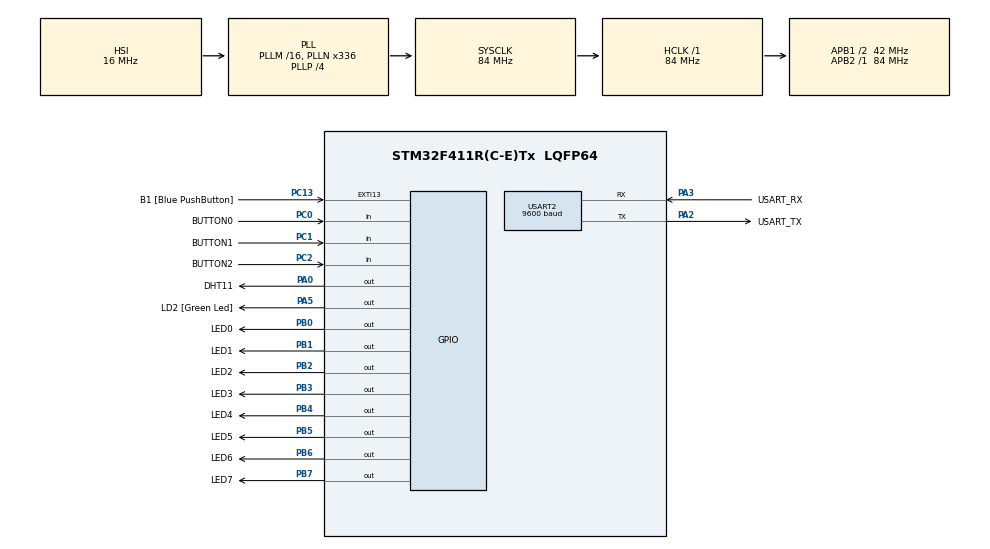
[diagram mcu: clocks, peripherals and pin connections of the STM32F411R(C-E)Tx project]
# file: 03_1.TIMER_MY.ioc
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FREERTOS.Tasks01=defaultTask,24,128,StartDefaultTask,Default,NULL,Dynamic,NULL,NULL;myTask01,8,128,StartTask01,Default,NULL,Dynamic,NULL,NULL;myTask02,8,128,StartTask02,Default,NULL,Dynamic,NULL,NULL
FREERTOS.configUSE_NEWLIB_REENTRANT=1
Mcu.Family=STM32F4
Mcu.Name=STM32F411R(C-E)Tx
Mcu.Package=LQFP64
NVIC.PriorityGroup=NVIC_PRIORITYGROUP_4
NVIC.TIM1_UP_TIM10_IRQn=true\:5\:0\:false\:false\:true\:false\:false\:true
NVIC.TIM2_IRQn=true\:5\:0\:false\:false\:true\:true\:true\:true
NVIC.TIM3_IRQn=true\:5\:0\:false\:false\:true\:true\:true\:true
NVIC.TimeBase=TIM1_UP_TIM10_IRQn
NVIC.TimeBaseIP=TIM10
NVIC.USART2_IRQn=true\:5\:0\:false\:false\:true\:true\:true\:true
PA0-WKUP.GPIO_Label=DHT11
PA0-WKUP.Signal=GPIO_Output
PA13.GPIO_Label=TMS
PA13.Mode=Serial_Wire
PA13.Signal=SYS_JTMS-SWDIO
PA14.GPIO_Label=TCK
PA14.Mode=Serial_Wire
PA14.Signal=SYS_JTCK-SWCLK
PA2.GPIO_Label=USART_TX
PA2.Mode=Asynchronous
PA2.Signal=USART2_TX
PA3.GPIO_Label=USART_RX
PA3.Mode=Asynchronous
PA3.Signal=USART2_RX
PA5.GPIO_Label=LD2 [Green Led]
PA5.Signal=GPIO_Output
PB0.GPIO_Label=LED0
PB0.Signal=GPIO_Output
PB1.GPIO_Label=LED1
PB1.Signal=GPIO_Output
PB2.GPIO_Label=LED2
PB2.Signal=GPIO_Output
PB3.GPIO_Label=LED3
PB3.Signal=GPIO_Output
PB4.GPIO_Label=LED4
PB4.Signal=GPIO_Output
PB5.GPIO_Label=LED5
PB5.Signal=GPIO_Output
PB6.GPIO_Label=LED6
PB6.Signal=GPIO_Output
PB7.GPIO_Label=LED7
PB7.Signal=GPIO_Output
PC0.GPIO_Label=BUTTON0
PC0.Signal=GPIO_Input
PC1.GPIO_Label=BUTTON1
PC1.Signal=GPIO_Input
PC13-ANTI_TAMP.GPIO_Label=B1 [Blue PushButton]
PC13-ANTI_TAMP.GPIO_ModeDefaultEXTI=GPIO_MODE_IT_FALLING
PC13-ANTI_TAMP.Signal=GPXTI13
PC14-OSC32_IN.Mode=LSE-External-Oscillator
PC14-OSC32_IN.Signal=RCC_OSC32_IN
PC15-OSC32_OUT.Mode=LSE-External-Oscillator
PC15-OSC32_OUT.Signal=RCC_OSC32_OUT
PC2.GPIO_Label=BUTTON2
PC2.Signal=GPIO_Input
PH0\ -\ OSC_IN.Mode=HSE-External-Clock-Source
PH0\ -\ OSC_IN.Signal=RCC_OSC_IN
PH1\ -\ OSC_OUT.Mode=HSE-External-Clock-Source
PH1\ -\ OSC_OUT.Signal=RCC_OSC_OUT
ProjectManager.HeapSize=0x200
ProjectManager.StackSize=0x400
ProjectManager.TargetToolchain=STM32CubeIDE
RCC.48MHZClocksFreq_Value=84000000
RCC.AHBFreq_Value=84000000
RCC.APB1CLKDivider=RCC_HCLK_DIV2
RCC.APB1Freq_Value=42000000
RCC.APB1TimFreq_Value=84000000
RCC.APB2Freq_Value=84000000
RCC.APB2TimFreq_Value=84000000
RCC.CortexFreq_Value=84000000
RCC.FLatency-AdvancedSettings=FLASH_LATENCY_2
RCC.HCLKFreq_Value=84000000
RCC.HSE_VALUE=8000000
RCC.HSI_VALUE=16000000
RCC.PLLN=336
RCC.PLLP=RCC_PLLP_DIV4
RCC.SYSCLKFreq_VALUE=84000000
RCC.SYSCLKSource=RCC_SYSCLKSOURCE_PLLCLK
RCC.VCOOutputFreq_Value=336000000
TIM11.Period=65535
TIM11.Prescaler=84-1
TIM2.Period=1000-1
TIM2.Prescaler=84-1
TIM3.Period=100-1
TIM3.Prescaler=8400-1
USART2.BaudRate=9600
USART2.VirtualMode=VM_ASYNC
VP_FREERTOS_VS_CMSIS_V2.Mode=CMSIS_V2
VP_SYS_VS_tim10.Mode=TIM10
VP_TIM11_VS_ClockSourceINT.Mode=Enable_Timer
VP_TIM2_VS_ClockSourceINT.Mode=Internal
VP_TIM3_VS_ClockSourceINT.Mode=Internal
board=NUCLEO-F411RE

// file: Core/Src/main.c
/* USER CODE BEGIN Header */
/**
  ******************************************************************************
  * @file           : main.c
  * @brief          : Main program body
  ******************************************************************************
  * @attention
  *
  * <h2><center>&copy; Copyright (c) 2024 STMicroelectronics.
  * All rights reserved.</center></h2>
  *
  * This software component is licensed by ST under BSD 3-Clause license,
  * the "License"; You may not use this file except in compliance with the
  * License. You may obtain a copy of the License at:
  *                        opensource.org/licenses/BSD-3-Clause
  *
  ******************************************************************************
  */
/* USER CODE END Header */
#include "main.h"
#include "cmsis_os.h"

TIM_HandleTypeDef htim2;
TIM_HandleTypeDef htim3;
TIM_HandleTypeDef htim11;

UART_HandleTypeDef huart2;

/* Definitions for defaultTask */
osThreadId_t defaultTaskHandle;
const osThreadAttr_t defaultTask_attributes = {
  .name = "defaultTask",
  .stack_size = 128 * 4,
  .priority = (osPriority_t) osPriorityNormal,
};
/* Definitions for myTask01 */
osThreadId_t myTask01Handle;
const osThreadAttr_t myTask01_attributes = {
  .name = "myTask01",
  .stack_size = 128 * 4,
  .priority = (osPriority_t) osPriorityLow,
};
/* Definitions for myTask02 */
osThreadId_t myTask02Handle;
const osThreadAttr_t myTask02_attributes = {
  .name = "myTask02",
  .stack_size = 128 * 4,
  .priority = (osPriority_t) osPriorityLow,
};
/* USER CODE BEGIN PV */
uint8_t rx_data;
int led_state=0;
volatile int TIM2_1ms_counter=0;
volatile int TIM3_10ms_counter=0;
volatile int TIM2_DHT11_counter = 0;
/* USER CODE END PV */

void SystemClock_Config(void);
static void MX_GPIO_Init(void);
static void MX_USART2_UART_Init(void);
static void MX_TIM11_Init(void);
static void MX_TIM2_Init(void);
static void MX_TIM3_Init(void);
void StartDefaultTask(void *argument);
void StartTask01(void *argument);
void StartTask02(void *argument);

/* USER CODE BEGIN PFP */
extern void led_all_on(void);
extern void led_all_off(void);
extern void led2_toggle(void);
extern void led_on_up();
extern void led_on_down();
extern void ledbar0_toggle(void);
extern void ledbar1_toggle(void);
extern void ledbar2_toggle(void);
extern void led_main(void);
extern void button0_check(void);
extern void delay_us(unsigned int us);
extern void DHT11_Init(void);
/* USER CODE END PFP */

/* USER CODE BEGIN 0 */
//-- call by SysTick_Handler of stm32f4xx_it.c
// SysTick_Handler : ARM core default timer
volatile int t1ms_counter=0;
void HAL_SYSTICK_Handler()
{
	t1ms_counter++;   // 1ms timer counter
}
//------------ printf start -----------------------
#ifdef __GNUC__    // Add for printf
/* With GCC, small printf (option LD Linker->Libraries->Small printf
   set to 'Yes') calls __io_putchar() */
#define PUTCHAR_PROTOTYPE int __io_putchar(int ch)
#else
#define PUTCHAR_PROTOTYPE int fputc(int ch, FILE *f)
#endif /* __GNUC__ */
/**
  * @brief  Retargets the C library printf function to the USART.
  * @param  None
  * @retval None
  */
PUTCHAR_PROTOTYPE   // Add for printf
{
  /* Place your implementation of fputc here */
  /* e.g. write a character to the USART2 and Loop until the end of transmission */
  HAL_UART_Transmit(&huart2, (uint8_t *)&ch, 1, 0xFFFF);

  return ch;
}
//-------------------- printf end --------------------
/* USER CODE END 0 */

int main(void)
{

  /* MCU Configuration--------------------------------------------------------*/

  /* Reset of all peripherals, Initializes the Flash interface and the Systick. */
  HAL_Init();

  /* Configure the system clock */
  SystemClock_Config();

  /* Initialize all configured peripherals */
  MX_GPIO_Init();
  MX_USART2_UART_Init();
  MX_TIM11_Init();
  MX_TIM2_Init();
  MX_TIM3_Init();
  /* USER CODE BEGIN 2 */
  HAL_UART_Receive_IT(&huart2, &rx_data, 1);   // assign RX INT
  HAL_TIM_Base_Start_IT(&htim2);  // ADD_SIKWON_0523
  HAL_TIM_Base_Start_IT(&htim3);  // ADD_MIKE_0524
  HAL_TIM_Base_Start_IT(&htim11);  // ADD_SIKWON_0523
  DHT11_Init();
  /* USER CODE END 2 */

  /* Init scheduler */
  osKernelInitialize();

  /* Create the thread(s) */
  /* creation of defaultTask */
  defaultTaskHandle = osThreadNew(StartDefaultTask, NULL, &defaultTask_attributes);

  /* creation of myTask01 */
  myTask01Handle = osThreadNew(StartTask01, NULL, &myTask01_attributes);

  /* creation of myTask02 */
  myTask02Handle = osThreadNew(StartTask02, NULL, &myTask02_attributes);

  /* Start scheduler */
  osKernelStart();

  /* We should never get here as control is now taken by the scheduler */
  /* Infinite loop */
  /* USER CODE BEGIN WHILE */
  while (1)
  {
//	  led_on_up();
//	  led_on_down();

#if 0
	  if (t1ms_counter >= 500)
	  {
		  t1ms_counter=0;
		  switch(led_state)
		  {
		  case 0:
			  led_all_on();
			  break;
		  case 1:
			  led_all_off();
			  break;
		  case 2:
			  led2_toggle();
			  break;
		  }
		  led_state++;
		  led_state %=3;
	  }
#endif
    /* USER CODE END WHILE */

    /* USER CODE BEGIN 3 */
// enter here !!!!!!
  }
  /* USER CODE END 3 */
}

void SystemClock_Config(void)
{
  RCC_OscInitTypeDef RCC_OscInitStruct = {0};
  RCC_ClkInitTypeDef RCC_ClkInitStruct = {0};

  /** Configure the main internal regulator output voltage
  */
  __HAL_RCC_PWR_CLK_ENABLE();
  __HAL_PWR_VOLTAGESCALING_CONFIG(PWR_REGULATOR_VOLTAGE_SCALE1);
  /** Initializes the RCC Oscillators according to the specified parameters
  * in the RCC_OscInitTypeDef structure.
  */
  RCC_OscInitStruct.OscillatorType = RCC_OSCILLATORTYPE_HSI;
  RCC_OscInitStruct.HSIState = RCC_HSI_ON;
  RCC_OscInitStruct.HSICalibrationValue = RCC_HSICALIBRATION_DEFAULT;
  RCC_OscInitStruct.PLL.PLLState = RCC_PLL_ON;
  RCC_OscInitStruct.PLL.PLLSource = RCC_PLLSOURCE_HSI;
  RCC_OscInitStruct.PLL.PLLM = 16;
  RCC_OscInitStruct.PLL.PLLN = 336;
  RCC_OscInitStruct.PLL.PLLP = RCC_PLLP_DIV4;
  RCC_OscInitStruct.PLL.PLLQ = 4;
  if (HAL_RCC_OscConfig(&RCC_OscInitStruct) != HAL_OK)
  {
    Error_Handler();
  }
  /** Initializes the CPU, AHB and APB buses clocks
  */
  RCC_ClkInitStruct.ClockType = RCC_CLOCKTYPE_HCLK|RCC_CLOCKTYPE_SYSCLK
                              |RCC_CLOCKTYPE_PCLK1|RCC_CLOCKTYPE_PCLK2;
  RCC_ClkInitStruct.SYSCLKSource = RCC_SYSCLKSOURCE_PLLCLK;
  RCC_ClkInitStruct.AHBCLKDivider = RCC_SYSCLK_DIV1;
  RCC_ClkInitStruct.APB1CLKDivider = RCC_HCLK_DIV2;
  RCC_ClkInitStruct.APB2CLKDivider = RCC_HCLK_DIV1;

  if (HAL_RCC_ClockConfig(&RCC_ClkInitStruct, FLASH_LATENCY_2) != HAL_OK)
  {
    Error_Handler();
  }
}

static void MX_TIM2_Init(void)
{

  TIM_ClockConfigTypeDef sClockSourceConfig = {0};
  TIM_MasterConfigTypeDef sMasterConfig = {0};

  htim2.Instance = TIM2;
  htim2.Init.Prescaler = 84-1;
  htim2.Init.CounterMode = TIM_COUNTERMODE_UP;
  htim2.Init.Period = 1000-1;
  htim2.Init.ClockDivision = TIM_CLOCKDIVISION_DIV1;
  htim2.Init.AutoReloadPreload = TIM_AUTORELOAD_PRELOAD_DISABLE;
  if (HAL_TIM_Base_Init(&htim2) != HAL_OK)
  {
    Error_Handler();
  }
  sClockSourceConfig.ClockSource = TIM_CLOCKSOURCE_INTERNAL;
  if (HAL_TIM_ConfigClockSource(&htim2, &sClockSourceConfig) != HAL_OK)
  {
    Error_Handler();
  }
  sMasterConfig.MasterOutputTrigger = TIM_TRGO_RESET;
  sMasterConfig.MasterSlaveMode = TIM_MASTERSLAVEMODE_DISABLE;
  if (HAL_TIMEx_MasterConfigSynchronization(&htim2, &sMasterConfig) != HAL_OK)
  {
    Error_Handler();
  }

}

static void MX_TIM3_Init(void)
{

  TIM_ClockConfigTypeDef sClockSourceConfig = {0};
  TIM_MasterConfigTypeDef sMasterConfig = {0};

  htim3.Instance = TIM3;
  htim3.Init.Prescaler = 8400-1;
  htim3.Init.CounterMode = TIM_COUNTERMODE_UP;
  htim3.Init.Period = 100-1;
  htim3.Init.ClockDivision = TIM_CLOCKDIVISION_DIV1;
  htim3.Init.AutoReloadPreload = TIM_AUTORELOAD_PRELOAD_DISABLE;
  if (HAL_TIM_Base_Init(&htim3) != HAL_OK)
  {
    Error_Handler();
  }
  sClockSourceConfig.ClockSource = TIM_CLOCKSOURCE_INTERNAL;
  if (HAL_TIM_ConfigClockSource(&htim3, &sClockSourceConfig) != HAL_OK)
  {
    Error_Handler();
  }
  sMasterConfig.MasterOutputTrigger = TIM_TRGO_RESET;
  sMasterConfig.MasterSlaveMode = TIM_MASTERSLAVEMODE_DISABLE;
  if (HAL_TIMEx_MasterConfigSynchronization(&htim3, &sMasterConfig) != HAL_OK)
  {
    Error_Handler();
  }

}

static void MX_TIM11_Init(void)
{

  htim11.Instance = TIM11;
  htim11.Init.Prescaler = 84-1;
  htim11.Init.CounterMode = TIM_COUNTERMODE_UP;
  htim11.Init.Period = 65535;
  htim11.Init.ClockDivision = TIM_CLOCKDIVISION_DIV1;
  htim11.Init.AutoReloadPreload = TIM_AUTORELOAD_PRELOAD_DISABLE;
  if (HAL_TIM_Base_Init(&htim11) != HAL_OK)
  {
    Error_Handler();
  }

}

static void MX_USART2_UART_Init(void)
{

  huart2.Instance = USART2;
  huart2.Init.BaudRate = 9600;
  huart2.Init.WordLength = UART_WORDLENGTH_8B;
  huart2.Init.StopBits = UART_STOPBITS_1;
  huart2.Init.Parity = UART_PARITY_NONE;
  huart2.Init.Mode = UART_MODE_TX_RX;
  huart2.Init.HwFlowCtl = UART_HWCONTROL_NONE;
  huart2.Init.OverSampling = UART_OVERSAMPLING_16;
  if (HAL_UART_Init(&huart2) != HAL_OK)
  {
    Error_Handler();
  }

}

static void MX_GPIO_Init(void)
{
  GPIO_InitTypeDef GPIO_InitStruct = {0};

  /* GPIO Ports Clock Enable */
  __HAL_RCC_GPIOC_CLK_ENABLE();
  __HAL_RCC_GPIOH_CLK_ENABLE();
  __HAL_RCC_GPIOA_CLK_ENABLE();
  __HAL_RCC_GPIOB_CLK_ENABLE();

  /*Configure GPIO pin Output Level */
  HAL_GPIO_WritePin(GPIOA, DHT11_Pin|LD2_Pin, GPIO_PIN_RESET);

  /*Configure GPIO pin Output Level */
  HAL_GPIO_WritePin(GPIOB, LED0_Pin|LED1_Pin|LED2_Pin|LED3_Pin
                          |LED4_Pin|LED5_Pin|LED6_Pin|LED7_Pin, GPIO_PIN_RESET);

  /*Configure GPIO pin : B1_Pin */
  GPIO_InitStruct.Pin = B1_Pin;
  GPIO_InitStruct.Mode = GPIO_MODE_IT_FALLING;
  GPIO_InitStruct.Pull = GPIO_NOPULL;
  HAL_GPIO_Init(B1_GPIO_Port, &GPIO_InitStruct);

  /*Configure GPIO pins : BUTTON0_Pin BUTTON1_Pin BUTTON2_Pin */
  GPIO_InitStruct.Pin = BUTTON0_Pin|BUTTON1_Pin|BUTTON2_Pin;
  GPIO_InitStruct.Mode = GPIO_MODE_INPUT;
  GPIO_InitStruct.Pull = GPIO_NOPULL;
  HAL_GPIO_Init(GPIOC, &GPIO_InitStruct);

  /*Configure GPIO pins : DHT11_Pin LD2_Pin */
  GPIO_InitStruct.Pin = DHT11_Pin|LD2_Pin;
  GPIO_InitStruct.Mode = GPIO_MODE_OUTPUT_PP;
  GPIO_InitStruct.Pull = GPIO_NOPULL;
  GPIO_InitStruct.Speed = GPIO_SPEED_FREQ_LOW;
  HAL_GPIO_Init(GPIOA, &GPIO_InitStruct);

  /*Configure GPIO pins : LED0_Pin LED1_Pin LED2_Pin LED3_Pin
                           LED4_Pin LED5_Pin LED6_Pin LED7_Pin */
  GPIO_InitStruct.Pin = LED0_Pin|LED1_Pin|LED2_Pin|LED3_Pin
                          |LED4_Pin|LED5_Pin|LED6_Pin|LED7_Pin;
  GPIO_InitStruct.Mode = GPIO_MODE_OUTPUT_PP;
  GPIO_InitStruct.Pull = GPIO_NOPULL;
  GPIO_InitStruct.Speed = GPIO_SPEED_FREQ_LOW;
  HAL_GPIO_Init(GPIOB, &GPIO_InitStruct);

}

void StartDefaultTask(void *argument)
{
  /* USER CODE BEGIN 5 */
  /* Infinite loop */
  for(;;)  // while(1)
  {
	  button_check();
    osDelay(1);
  }
  /* USER CODE END 5 */
}

void StartTask01(void *argument)
{
  /* USER CODE BEGIN StartTask01 */
  /* Infinite loop */
  for(;;)
  {
	if (TIM2_1ms_counter >= 50) // 50ms
	{
		TIM2_1ms_counter=0;
		led2_toggle();
	}
	// led2_toggle();
    osDelay(1);
  }
  /* USER CODE END StartTask01 */
}

void StartTask02(void *argument)
{
  /* USER CODE BEGIN StartTask02 */
  /* Infinite loop */
  for(;;)
  {
	  led_main();
	  osDelay(1);
  }
  /* USER CODE END StartTask02 */
}

void HAL_TIM_PeriodElapsedCallback(TIM_HandleTypeDef *htim)
{
  /* USER CODE BEGIN Callback 0 */
//////
  /* USER CODE END Callback 0 */
  if (htim->Instance == TIM10) {
    HAL_IncTick();
  }
  /* USER CODE BEGIN Callback 1 */
	if (htim->Instance == TIM2)
	{
		TIM2_1ms_counter++;
		TIM2_DHT11_counter++;
	}
  /* USER CODE END Callback 1 */
  /* USER CODE BEGIN Callback 2 */
	if (htim->Instance == TIM3)
	{ // Increment your 10 ms counter here
		TIM3_10ms_counter++;
	}
  /* USER CODE END Callback 2 */
}

void Error_Handler(void)
{
  __disable_irq();
  while (1)
  {
  }
}

/************************ (C) COPYRIGHT STMicroelectronics *****END OF FILE****/
